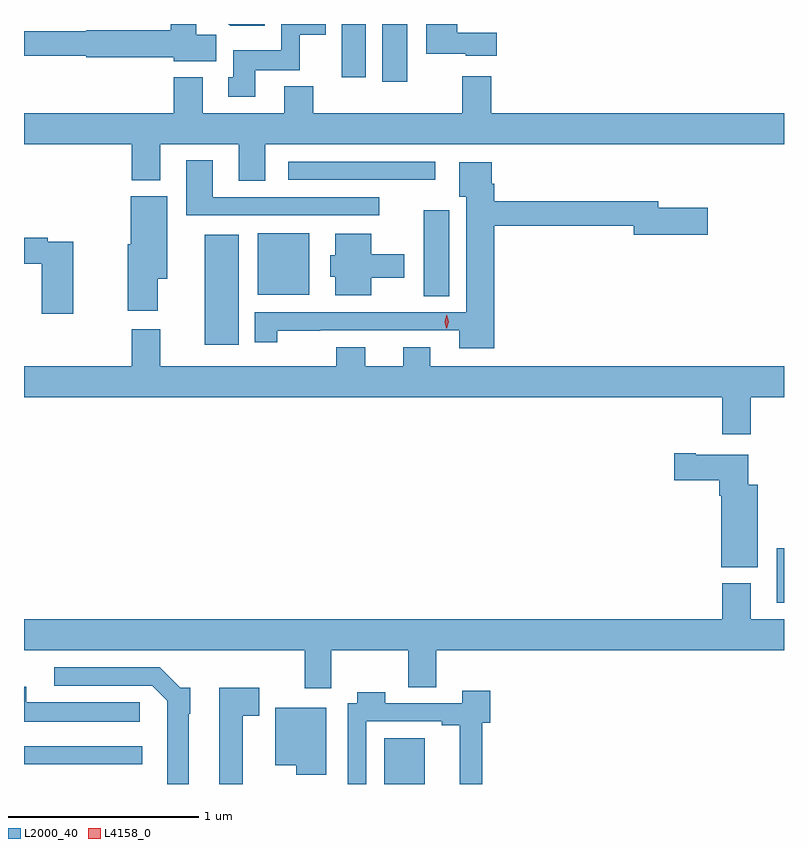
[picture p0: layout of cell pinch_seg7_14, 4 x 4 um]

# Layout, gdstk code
import gdstk
lib = gdstk.Library(unit=1e-6, precision=1e-09)
def R(c, l, rs):  # rectangles x0, y0, x1, y1
    for r in rs: c.add(gdstk.rectangle(r[:2], r[2:], *l))
def P(c, l, *ps):  # polygons
    for p in ps: c.add(gdstk.Polygon(p, *l))
L2000_40 = (2000, 40)
L4158_0 = (4158, 0)

pinch_seg7_14 = lib.new_cell('pinch_seg7_14')
R(pinch_seg7_14, L2000_40, [(1025.612,1061.185,1025.827,1061.425), (1023.717,1061.288,1024.339,1061.385), (1027.679,1062.138,1027.717,1062.426), (1024.667,1063.496,1024.846,1064.077), (1025.822,1063.753,1025.956,1064.206), (1024.946,1063.76,1025.218,1064.083), (1025.109,1064.364,1025.881,1064.46), (1025.603,1064.88,1025.734,1065.185), (1025.39,1064.904,1025.515,1065.185)])
P(pinch_seg7_14, L2000_40, [(1024.933,1064.942),(1025.169,1064.942),(1025.169,1065.128),(1025.305,1065.128),(1025.305,1065.185),(1025.07,1065.185),(1025.07,1065.046),(1024.817,1065.046),(1024.817,1064.904),(1024.793,1064.904),(1024.793,1064.802),(1024.933,1064.802)],
  [(1026.205,1065.139),(1025.996,1065.139),(1025.996,1065.185),(1025.834,1065.185),(1025.834,1065.029),(1026.042,1065.029),(1026.042,1065.017),(1026.205,1065.017)],
  [(1024.985,1065.185),(1024.793,1065.185),(1024.802,1065.176),(1024.985,1065.176)],
  [(1024.729,1065.128),(1024.624,1065.128),(1024.624,1065.185),(1024.49,1065.185),(1024.49,1065.152),(1024.044,1065.152),(1024.044,1065.146),(1023.717,1065.146),(1023.717,1065.018),(1024.044,1065.018),(1024.044,1065.01),(1024.506,1065.01),(1024.506,1064.99),(1024.729,1064.99)],
  [(1024.987,1064.552),(1027.717,1064.552),(1027.717,1064.716),(1026.176,1064.716),(1026.176,1064.911),(1026.023,1064.911),(1026.023,1064.716),(1025.24,1064.716),(1025.24,1064.857),(1025.087,1064.857),(1025.087,1064.716),(1024.657,1064.716),(1024.657,1064.905),(1024.505,1064.905),(1024.505,1064.716),(1023.717,1064.716),(1023.717,1064.552),(1024.283,1064.552),(1024.283,1064.363),(1024.435,1064.363),(1024.435,1064.552),(1024.847,1064.552),(1024.847,1064.359),(1024.987,1064.359)],
  [(1025.587,1064.274),(1024.711,1064.274),(1024.711,1064.467),(1024.571,1064.467),(1024.571,1064.178),(1025.587,1064.178)],
  [(1026.191,1064.122),(1026.926,1064.122),(1026.926,1064.075),(1027.315,1064.075),(1027.315,1064.217),(1027.054,1064.217),(1027.054,1064.251),(1026.191,1064.251),(1026.191,1064.345),(1026.178,1064.345),(1026.178,1064.458),(1026.008,1064.458),(1026.008,1064.276),(1026.044,1064.276),(1026.044,1063.668),(1024.931,1063.668),(1024.931,1063.509),(1025.049,1063.509),(1025.049,1063.571),(1025.276,1063.571),(1025.276,1063.572),(1026.008,1063.572),(1026.008,1063.478),(1026.191,1063.478)],
  [(1024.42,1063.844),(1024.471,1063.844),(1024.471,1064.278),(1024.28,1064.278),(1024.28,1064.025),(1024.262,1064.025),(1024.262,1063.677),(1024.42,1063.677)],
  [(1025.545,1063.85),(1025.719,1063.85),(1025.719,1063.972),(1025.545,1063.972),(1025.545,1064.08),(1025.354,1064.08),(1025.354,1063.968),(1025.33,1063.968),(1025.33,1063.854),(1025.354,1063.854),(1025.354,1063.757),(1025.545,1063.757)],
  [(1023.976,1064.04),(1023.842,1064.04),(1023.842,1064.06),(1023.717,1064.06),(1023.717,1063.924),(1023.811,1063.924),(1023.811,1063.659),(1023.976,1063.659)],
  [(1027.543,1063.22),(1027.717,1063.22),(1027.717,1063.384),(1025.854,1063.384),(1025.854,1063.483),(1025.714,1063.483),(1025.714,1063.384),(1025.512,1063.384),(1025.512,1063.483),(1025.36,1063.483),(1025.36,1063.384),(1024.435,1063.384),(1024.435,1063.579),(1024.283,1063.579),(1024.283,1063.384),(1023.717,1063.384),(1023.717,1063.22),(1027.391,1063.22),(1027.391,1063.026),(1027.543,1063.026)],
  [(1027.579,1062.76),(1027.528,1062.76),(1027.528,1062.919),(1027.252,1062.919),(1027.252,1062.927),(1027.14,1062.927),(1027.14,1062.785),(1027.376,1062.785),(1027.376,1062.701),(1027.388,1062.701),(1027.388,1062.326),(1027.579,1062.326)],
  [(1025.335,1061.888),(1025.74,1061.888),(1025.74,1061.695),(1025.887,1061.695),(1025.887,1061.888),(1027.717,1061.888),(1027.717,1062.052),(1027.543,1062.052),(1027.543,1062.241),(1027.391,1062.241),(1027.391,1062.052),(1023.717,1062.052),(1023.717,1061.888),(1025.195,1061.888),(1025.195,1061.688),(1025.335,1061.688)],
  [(1024.585,1061.556),(1024.591,1061.556),(1024.591,1061.692),(1024.539,1061.692),(1024.432,1061.799),(1023.876,1061.799),(1023.876,1061.703),(1024.392,1061.703),(1024.472,1061.623),(1024.472,1061.185),(1024.585,1061.185)],
  [(1024.327,1061.614),(1023.73,1061.614),(1023.73,1061.698),(1023.717,1061.698),(1023.717,1061.513),(1024.327,1061.513)],
  [(1024.867,1061.545),(1024.954,1061.545),(1024.954,1061.692),(1024.745,1061.692),(1024.745,1061.185),(1024.867,1061.185)],
  [(1025.517,1061.514),(1025.915,1061.514),(1025.915,1061.494),(1026.011,1061.494),(1026.011,1061.185),(1026.128,1061.185),(1026.128,1061.507),(1026.172,1061.507),(1026.172,1061.677),(1026.023,1061.677),(1026.023,1061.61),(1025.619,1061.61),(1025.619,1061.668),(1025.471,1061.668),(1025.471,1061.61),(1025.421,1061.61),(1025.421,1061.185),(1025.517,1061.185)],
  [(1025.308,1061.587),(1025.039,1061.587),(1025.039,1061.285),(1025.15,1061.285),(1025.15,1061.235),(1025.308,1061.235)])
P(pinch_seg7_14, L4158_0, [(1025.94,1063.583),(1025.94,1063.583),(1025.932,1063.619),(1025.943,1063.655),(1025.943,1063.655),(1025.943,1063.655),(1025.952,1063.618),(1025.941,1063.583)])

lib.write_gds('pinch_seg7_14.gds')
